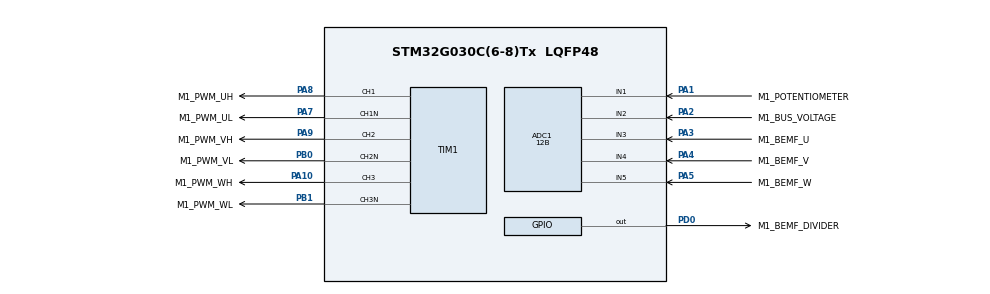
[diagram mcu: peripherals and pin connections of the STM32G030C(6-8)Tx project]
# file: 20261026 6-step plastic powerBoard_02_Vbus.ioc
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ADC1.ClockPrescaler=ADC_CLOCK_ASYNC_DIV1
ADC1.ContinuousConvMode=DISABLE
ADC1.DMAContinuousRequests=DISABLE
ADC1.DataAlign=ADC_DATAALIGN_LEFT
ADC1.DiscontinuousConvMode=DISABLE
ADC1.EOCSelection=ADC_EOC_SINGLE_CONV
ADC1.EnableAnalogWatchDog1=true
ADC1.ExternalTrigConv=ADC_EXTERNALTRIG_T1_TRGO2
ADC1.ExternalTrigConvEdge=ADC_EXTERNALTRIGCONVEDGE_FALLING
ADC1.LowPowerAutoPowerOff=DISABLE
ADC1.LowPowerAutoWait=DISABLE
ADC1.NbrOfConversion=1
ADC1.NbrOfConversionFlag=0
ADC1.Overrun=ADC_OVR_DATA_OVERWRITTEN
ADC1.OversamplingMode=DISABLE
ADC1.Resolution=ADC_RESOLUTION_12B
ADC1.SamplingTimeCommon1=ADC_SAMPLETIME_7CYCLES_5
ADC1.ScanConvMode=ADC_SCAN_SEQ_FIXED
ADC1.SelectedChannel=ADC_CHANNEL_1|ADC_CHANNEL_2|ADC_CHANNEL_3|ADC_CHANNEL_4|ADC_CHANNEL_5
ADC1.Sequencer=NOT_FULLY_CONFIGURABLE
ADC1.TriggerFrequencyMode=ADC_TRIGGER_FREQ_HIGH
ADC1.WatchdogChannel=ADC_CHANNEL_3
ADC1.WatchdogMode=ADC_ANALOGWATCHDOG_SINGLE_REG
ADC1.master=1
ExtraMW=MotorControl
ExtraMW.MotorControl.Config=MotorControl
ExtraMW.MotorControl.Mode=MotorControl
ExtraMW.MotorControl.Root=MCSDK_v6.4.2-Full/MotorControl
ExtraMW.MotorControl.Template=templates
Mcu.Family=STM32G0
Mcu.Name=STM32G030C(6-8)Tx
Mcu.Package=LQFP48
MotorControl.ADC_REFERENCE_VOLTAGE=3.3
MotorControl.BEMF_ADC_SAMPLING_TIME=7
MotorControl.BEMF_ADC_TRIG_TIME_DPP=921
MotorControl.BEMF_ADC_TRIG_TIME_ON_DPP=256
MotorControl.BEMF_AVERAGING_FIFO_DEPTH=8
MotorControl.BEMF_DIVIDER_AVAILABLE=true
MotorControl.BEMF_DIVIDER_GPIO_PIN=LL_GPIO_PIN_0
MotorControl.BEMF_DIVIDER_GPIO_PORT=GPIOD
MotorControl.BEMF_ON_SENSING_DIVIDER=5.545455
MotorControl.BEMF_PWM_ON_ENABLE_HYSTERESIS_DPP=51
MotorControl.BEMF_PWM_ON_ENABLE_THRES_DPP=716
MotorControl.BOARD=PowerBoard_6Step_02_Vbus
MotorControl.BUS_VOLTAGE_READING=true
MotorControl.CCMRAM_ENABLED=false
MotorControl.CLOCK_FREQUENCY=CPU_CLK_64_MHZ
MotorControl.CLOCK_SOURCE=INTERNAL
MotorControl.CPU_CLK_64_MHZ=true
MotorControl.CTLBOARD_NAME=PowerBoard_6Step_02_Vbus
MotorControl.CUBE_MX_VER=6.18.1
MotorControl.DBG_MCU_LOAD_MEASURE=false
MotorControl.DEBUG_DAC_FUNCTIONALITY_EN=false
MotorControl.DRIVES_NUMBER_SELECTION=SINGLEDRIVE
MotorControl.DRIVE_MODE=VM
MotorControl.DRIVE_NUMBER=1
MotorControl.DRIVE_TYPE=SIX_STEP
MotorControl.ENCODER_AVAILABLE=false
MotorControl.ENCODER_PPR=400
MotorControl.EXT_CLOCK_FREQUENCY=INT_RC_OSC
MotorControl.FAST_DEMAG=false
MotorControl.FLASH_SIZE=64
MotorControl.HALL_SENSORS_AVAILABLE=false
MotorControl.HIGH_SIDE_IDLE_STATE=false
MotorControl.HWV_POTENTIOMETER=Potentiometer
MotorControl.HWV_PWM=DrivingHighAndLowSides
MotorControl.HW_COMPLEMENTED_LOW_SIDE=false
MotorControl.HW_DEAD_TIME_NS=100
MotorControl.INT_RC_OSC=true
MotorControl.IPs=NVIC,RCC,SYS,MotorControl,TIM1,TIM3,ADC1
MotorControl.LF_TIMER_SELECTION=LF_TIM3
MotorControl.LOW_MEMORY_FOOTPRINT_REG=false
MotorControl.LOW_SIDE_IDLE_STATE=false
MotorControl.LOW_SIDE_SIGNALS_ENABLING=LS_PWM_TIMER
MotorControl.M1_ADC_AWD_FILTER_NUMBER=0
MotorControl.M1_AUXILIARY_SPEED_SENSOR=NONE
MotorControl.M1_BEMF_THRESHOLD_PWM=50
MotorControl.M1_BEMF_THRESHOLD_PWM_HIGH=100
MotorControl.M1_BEMF_THRESHOLD_PWM_LOW=1
MotorControl.M1_BOARD_MAX_CURRENT=5
MotorControl.M1_BUS_VOLTAGE_READING=true
MotorControl.M1_COMPUTATION_DELAY=-2
MotorControl.M1_CURRENT_MONITOR_READING=false
MotorControl.M1_CUR_READING=false
MotorControl.M1_DBG_OPEN_LOOP_ENABLE=false
MotorControl.M1_DC_CURRENT_RS_MEAS=5
MotorControl.M1_DEFAULT_TARGET_SPEED_RPM=2371
MotorControl.M1_DP_TOPOLOGY=NONE
MotorControl.M1_DRIVE_TYPE=SIX_STEP
MotorControl.M1_ENABLE_SL_ALGO_FROM_PHASE=3
MotorControl.M1_ENCODER_PPR=400
MotorControl.M1_HALL_PHASE_SHIFT=300
MotorControl.M1_HALL_SENSORS_PLACEMENT=DEGREES_120
MotorControl.M1_HIGH_SIDE_IDLE_STATE=false
MotorControl.M1_HW_DEAD_TIME_NS=100
MotorControl.M1_ICL_ENABLED=false
MotorControl.M1_IPD_STARTUP=false
MotorControl.M1_LDLQ_RATIO=1.000
MotorControl.M1_LOW_SIDE_IDLE_STATE=false
MotorControl.M1_LOW_SIDE_SIGNALS_ENABLING=LS_PWM_TIMER
MotorControl.M1_LS=0.000017
MotorControl.M1_MAX_APPLICATION_SPEED=15804
MotorControl.M1_MAX_CONSECUTIVE_BEMF_ERRORS=3
MotorControl.M1_MIN_APPLICATION_SPEED=0
MotorControl.M1_MOTOR_MAX_SPEED_RPM=15804
MotorControl.M1_MOTOR_NAME=03 plastik 20k rpm
MotorControl.M1_MOTOR_RATED_FLUX=0.003949979
MotorControl.M1_MOTOR_VOLTAGE_CONSTANT=0.5
MotorControl.M1_NB_CONSECUTIVE_TESTS=10
MotorControl.M1_NOMINAL_BUS_VOLTAGE_V=14
MotorControl.M1_OBS_MINIMUM_SPEED_RPM=2371
MotorControl.M1_OCP_TOPOLOGY=NONE
MotorControl.M1_ON_OVER_VOLTAGE=TURN_OFF_PWM
MotorControl.M1_OTF_6S_BEMF_THRESHOLD=10
MotorControl.M1_OTF_6S_BRAKE_MS=10
MotorControl.M1_OTF_6S_DETECTION_MS=0
MotorControl.M1_OTF_6S_LS_BRAKE_PERC=10
MotorControl.M1_OTF_6S_LS_DETECT_PERC=2
MotorControl.M1_OTF_6S_MAX_BEMF_ERROR=3
MotorControl.M1_OTF_RAMP_DURATION_MS=1000
MotorControl.M1_OTF_SPEED_DUTY_CYCLE_RATIO=3
MotorControl.M1_OTF_STARTUP=true
MotorControl.M1_OVP_THRESHOLD_HIGH=15.0
MotorControl.M1_OV_VOLTAGE_PROT_ENABLING=true
MotorControl.M1_OV_VOLTAGE_THRESHOLD_V=15.0
MotorControl.M1_PHASE1_DURATION=0
MotorControl.M1_PHASE1_FINAL_SPEED_RPM=0
MotorControl.M1_PHASE1_VOLTAGE_RMS=0.03
MotorControl.M1_PHASE2_DURATION=10
MotorControl.M1_PHASE2_FINAL_SPEED_RPM=1500
MotorControl.M1_PHASE2_VOLTAGE_RMS=3.79
MotorControl.M1_PHASE3_DURATION=20
MotorControl.M1_PHASE3_FINAL_SPEED_RPM=2371
MotorControl.M1_PHASE3_VOLTAGE_RMS=4.77
MotorControl.M1_PHASE4_DURATION=0
MotorControl.M1_PHASE4_FINAL_SPEED_RPM=0
MotorControl.M1_PHASE4_VOLTAGE_RMS=0.03
MotorControl.M1_PHASE5_DURATION=0
MotorControl.M1_PHASE5_FINAL_SPEED_RPM=0
MotorControl.M1_PHASE5_VOLTAGE_RMS=0.03
MotorControl.M1_PID_SPEED_KD_DEFAULT=0
MotorControl.M1_PID_SPEED_KI_DEFAULT=10
MotorControl.M1_PID_SPEED_KP_DEFAULT=116
MotorControl.M1_POLE_PAIR_NUM=6
MotorControl.M1_POTENTIOMETER_ENABLE=true
MotorControl.M1_POWERBOARD_NAME=PowerBoard_6Step_02_Vbus
MotorControl.M1_PWM_CHARGE_BOOT_CAP_DUTY_CYCLES=0.000
MotorControl.M1_PWM_CHARGE_BOOT_CAP_MS=10
MotorControl.M1_PWM_DRIVER_PN=02
MotorControl.M1_PWM_FREQUENCY=30000
MotorControl.M1_PWM_TIMER_BRK_IRQ=TIM1_BRK_UP_TRG_COM
MotorControl.M1_PWM_TIMER_SELECTION=PWM_TIM1
MotorControl.M1_PWM_TIMER_UP_IRQ=TIM1_BRK_UP_TRG_COM
MotorControl.M1_REGULATION_EXECUTION_RATE=1
MotorControl.M1_RS=0.1
MotorControl.M1_SHARED_SIGNAL_ENABLE=false
MotorControl.M1_SPD_DIFFERENTIAL_TERM_ENABLING=false
MotorControl.M1_SPEED_LOOP_FREQUENCY_HZ=1000
MotorControl.M1_SPEED_SENSOR=SENSORLESS_ADC
MotorControl.M1_SP_KDDIV=16
MotorControl.M1_SP_KIDIV=16384
MotorControl.M1_SP_KPDIV=16384
MotorControl.M1_SS_MEAS_ERRORS_BEFORE_FAULTS=3
MotorControl.M1_STARTING_ANGLE_DEG=0
MotorControl.M1_SW_DEADTIME_NS=100
MotorControl.M1_TEMPERATURE_READING=false
MotorControl.M1_TRANSITION_DURATION=25
MotorControl.M1_UD_VOLTAGE_THRESHOLD_V=6.0
MotorControl.M1_UV_VOLTAGE_PROT_ENABLING=true
MotorControl.M1_VBUS_ADC=ADC1
MotorControl.M1_VBUS_ADC_SAMPLING_TIME=39
MotorControl.M1_VBUS_CHANNEL=ADC_CHANNEL_2
MotorControl.M1_VBUS_PARTITIONING_FACTOR=0.18348623853211007
MotorControl.M1_ZCD_FALLING_TO_COMM=30
MotorControl.M1_ZCD_RISING_TO_COMM=30
MotorControl.MCP_EN=false
MotorControl.MCU=STM32G030C8
MotorControl.MCU_FAMILY=STM32G0
MotorControl.MCU_LINE=STM32G0x0 Value line
MotorControl.MCU_NAME=STM32G030C(6-8)Tx
MotorControl.MCU_PACKAGE=LQFP48
MotorControl.MCU_TYPE=STM32G030C8
MotorControl.MCU_USERNAME=STM32G030C8Tx
MotorControl.MC_WORKBENCH_VERSION=6.4.2
MotorControl.MIN_DEMAG_TIME=1
MotorControl.MOTOR_TYPE=PMSM
MotorControl.ON_OVER_VOLTAGE=TURN_OFF_PWM
MotorControl.OV_VOLTAGE_PROT_ENABLING=true
MotorControl.PHASE_UH_GPIO_PIN=LL_GPIO_PIN_8
MotorControl.PHASE_UH_GPIO_PORT=GPIOA
MotorControl.PHASE_UH_POLARITY=H_ACTIVE_HIGH
MotorControl.PHASE_UL_GPIO_PIN=LL_GPIO_PIN_7
MotorControl.PHASE_UL_GPIO_PORT=GPIOA
MotorControl.PHASE_UL_POLARITY=L_ACTIVE_HIGH
MotorControl.PHASE_U_BEMF_ADC=ADC1
MotorControl.PHASE_U_BEMF_CHANNEL=ADC_CHANNEL_3
MotorControl.PHASE_U_BEMF_GPIO_PIN=LL_GPIO_PIN_3
MotorControl.PHASE_U_BEMF_GPIO_PORT=GPIOA
MotorControl.PHASE_U_PWM_CHANNEL=TIM_Channel_1
MotorControl.PHASE_VH_GPIO_PIN=LL_GPIO_PIN_9
MotorControl.PHASE_VH_GPIO_PORT=GPIOA
MotorControl.PHASE_VH_POLARITY=H_ACTIVE_HIGH
MotorControl.PHASE_VL_GPIO_PIN=LL_GPIO_PIN_0
MotorControl.PHASE_VL_GPIO_PORT=GPIOB
MotorControl.PHASE_VL_POLARITY=L_ACTIVE_HIGH
MotorControl.PHASE_V_BEMF_ADC=ADC1
MotorControl.PHASE_V_BEMF_CHANNEL=ADC_CHANNEL_4
MotorControl.PHASE_V_BEMF_GPIO_PIN=LL_GPIO_PIN_4
MotorControl.PHASE_V_BEMF_GPIO_PORT=GPIOA
MotorControl.PHASE_V_PWM_CHANNEL=TIM_Channel_2
MotorControl.PHASE_WH_GPIO_PIN=LL_GPIO_PIN_10
MotorControl.PHASE_WH_GPIO_PORT=GPIOA
MotorControl.PHASE_WH_POLARITY=H_ACTIVE_HIGH
MotorControl.PHASE_WL_GPIO_PIN=LL_GPIO_PIN_1
MotorControl.PHASE_WL_GPIO_PORT=GPIOB
MotorControl.PHASE_WL_POLARITY=L_ACTIVE_HIGH
MotorControl.PHASE_W_BEMF_ADC=ADC1
MotorControl.PHASE_W_BEMF_CHANNEL=ADC_CHANNEL_5
MotorControl.PHASE_W_BEMF_GPIO_PIN=LL_GPIO_PIN_5
MotorControl.PHASE_W_BEMF_GPIO_PORT=GPIOA
MotorControl.PHASE_W_PWM_CHANNEL=TIM_Channel_3
MotorControl.POTENTIOMETER_ADC=ADC1
MotorControl.POTENTIOMETER_ADC_SAMPLING_TIME=39
MotorControl.POTENTIOMETER_CHANNEL=ADC_CHANNEL_1
MotorControl.POTENTIOMETER_GPIO_PIN=LL_GPIO_PIN_1
MotorControl.POTENTIOMETER_GPIO_PORT=GPIOA
MotorControl.POTENTIOMETER_READING=true
MotorControl.PWM_FREQUENCY=30000
MotorControl.PWM_TIMER_SELECTION=PWM_TIM1
MotorControl.QUASI_SYNC=false
MotorControl.REGULATION_EXECUTION_RATE=1
MotorControl.RUN_DEMAG_TIME=20
MotorControl.R_BRAKE_SWITCH_OFF_THRES_V=12
MotorControl.SENSORLESS_ADC=true
MotorControl.SINGLEDRIVE=true
MotorControl.SPD_DIFFERENTIAL_TERM_ENABLING=false
MotorControl.SPEED_SENSOR_SELECTION=SENSORLESS_ADC
MotorControl.SPEED_THRESHOLD_DEMAG=7902
MotorControl.STARTUP_DEMAG_TIME=20
MotorControl.START_STOP_BTN=false
MotorControl.STM32G030C8=true
MotorControl.SW_DEADTIME_NS=100
MotorControl.TEMPERATURE_READING=false
MotorControl.TFDIFFERENTIAL_TERM_ENABLING=false
MotorControl.UV_VOLTAGE_PROT_ENABLING=true
MotorControl.VBUS_ADC=ADC1
MotorControl.VBUS_ADC_SAMPLING_TIME=39
MotorControl.VBUS_CHANNEL=ADC_CHANNEL_2
MotorControl.VBUS_GPIO_PIN=LL_GPIO_PIN_2
MotorControl.VBUS_GPIO_PORT=GPIOA
MotorControl.WB_MX_ADC_AWD_FILTER_NUMBER=NONE
MotorControl.WB_MX_HEAPSIZE=0x200
MotorControl.WB_MX_PHASE_U_BEMF_ADC_IRQ=ADC1
MotorControl.WB_MX_PHASE_V_BEMF_ADC_IRQ=ADC1
MotorControl.WB_MX_PHASE_W_BEMF_ADC_IRQ=ADC1
MotorControl.WB_MX_STACKSIZE=0x400
MotorControl.WB_MX_TRUSTZONE_AVAILABLE=false
MotorControl.WB_UI_ENCODER_HAS_INDEX_PIN=false
MotorControl.WB_UI_FRICTION=0.104
MotorControl.WB_UI_INERTIA=0.001
MotorControl.WB_UI_MAGNETIC_STRUCTURE=SM-PMSM
MotorControl.WB_UI_MAX_CURRENT=5
MotorControl.WB_UI_MAX_NOMINAL_DC_VOLTAGE=14
MotorControl.WB_UI_MAX_PWMFREQUENCY=100000
MotorControl.WB_UI_MOTOR_DESCRIPTION=20000 rpm 5A 8V
MotorControl.WB_UI_PWM_ON_SENSING=true
MotorControl.WB_UI_PW_BOARD_MAX_RATED_CURRENT=10
MotorControl.WB_UI_PW_BOARD_MAX_VOLTAGE=16
MotorControl.WB_UI_PW_BOARD_MIN_VOLTAGE=6
MotorControl.WB_to_Mx_template_version=25-05-06
MotorControl.WB_to_Mx_version=6.4.2
NVIC.ADC1_IRQn=true\:0\:0\:true\:true\:false\:3\:true\:true\:true
NVIC.TIM1_BRK_UP_TRG_COM_IRQn=true\:0\:0\:false\:true\:false\:2\:true\:true\:true
NVIC.TIM3_IRQn=true\:0\:0\:true\:true\:false\:1\:true\:true\:true
PA1.GPIO_Label=M1_POTENTIOMETER
PA1.Mode=IN1
PA1.Signal=ADC1_IN1
PA10.GPIO_Label=M1_PWM_WH
PA10.GPIO_PuPd=GPIO_PULLDOWN
PA10.GPIO_Speed=GPIO_SPEED_FREQ_HIGH
PA10.Signal=S_TIM1_CH3
PA2.GPIO_Label=M1_BUS_VOLTAGE
PA2.Mode=IN2
PA2.Signal=ADC1_IN2
PA3.GPIO_Label=M1_BEMF_U
PA3.Mode=IN3
PA3.Signal=ADC1_IN3
PA4.GPIO_Label=M1_BEMF_V
PA4.Mode=IN4
PA4.Signal=ADC1_IN4
PA5.GPIO_Label=M1_BEMF_W
PA5.Mode=IN5
PA5.Signal=ADC1_IN5
PA7.GPIO_Label=M1_PWM_UL
PA7.GPIO_PuPd=GPIO_PULLDOWN
PA7.GPIO_Speed=GPIO_SPEED_FREQ_HIGH
PA7.Mode=PWM Generation1 CH1 CH1N
PA7.Signal=TIM1_CH1N
PA8.GPIO_Label=M1_PWM_UH
PA8.GPIO_PuPd=GPIO_PULLDOWN
PA8.GPIO_Speed=GPIO_SPEED_FREQ_HIGH
PA8.Signal=S_TIM1_CH1
PA9.GPIO_Label=M1_PWM_VH
PA9.GPIO_PuPd=GPIO_PULLDOWN
PA9.GPIO_Speed=GPIO_SPEED_FREQ_HIGH
PA9.Signal=S_TIM1_CH2
PB0.GPIO_Label=M1_PWM_VL
PB0.GPIO_PuPd=GPIO_PULLDOWN
PB0.GPIO_Speed=GPIO_SPEED_FREQ_HIGH
PB0.Mode=PWM Generation2 CH2 CH2N
PB0.Signal=TIM1_CH2N
PB1.GPIO_Label=M1_PWM_WL
PB1.GPIO_PuPd=GPIO_PULLDOWN
PB1.GPIO_Speed=GPIO_SPEED_FREQ_HIGH
PB1.Mode=PWM Generation3 CH3 CH3N
PB1.Signal=TIM1_CH3N
PD0.GPIO_Label=M1_BEMF_DIVIDER
PD0.GPIO_PuPd=GPIO_PULLDOWN
PD0.PinState=GPIO_PIN_RESET
PD0.Signal=GPIO_Output
ProjectManager.HeapSize=0x200
ProjectManager.StackSize=0x400
ProjectManager.TargetToolchain=STM32CubeIDE
RCC.ADCCLockSelection=RCC_ADCCLKSOURCE_PLLADC
RCC.ADCFreq_Value=32000000
RCC.AHBFreq_Value=64000000
RCC.CortexFreq_Value=64000000
RCC.EXTERNAL_CLOCK_VALUE=12288000
RCC.HCLKFreq_Value=64000000
RCC.HSE_VALUE=8000000
RCC.HSI_VALUE=16000000
RCC.LSE_VALUE=32768
RCC.PLLM=RCC_PLLM_DIV2
RCC.PLLN=32
RCC.PLLP=RCC_PLLP_DIV8
RCC.PLLQ=RCC_PLLQ_DIV2
RCC.PLLR=RCC_PLLR_DIV4
RCC.PLLSourceVirtual=RCC_PLLSOURCE_HSI
RCC.PREFETCH_ENABLE=1
RCC.SYSCLKFreq_VALUE=64000000
RCC.SYSCLKSource=RCC_SYSCLKSOURCE_PLLCLK
RCC.VCOOutputFreq_Value=256000000
SH.S_TIM1_CH1.0=TIM1_CH1,PWM Generation1 CH1 CH1N
SH.S_TIM1_CH2.0=TIM1_CH2,PWM Generation2 CH2 CH2N
SH.S_TIM1_CH3.0=TIM1_CH3,PWM Generation3 CH3 CH3N
TIM1.AutoReloadPreload=TIM_AUTORELOAD_PRELOAD_DISABLE
TIM1.AutomaticOutput=TIM_AUTOMATICOUTPUT_DISABLE
TIM1.Break2Filter=3
TIM1.Break2Polarity=TIM_BREAK2POLARITY_HIGH
TIM1.Break2State=TIM_BREAK2_DISABLE
TIM1.BreakFilter=0
TIM1.BreakPolarity=TIM_BREAKPOLARITY_HIGH
TIM1.BreakState=TIM_BREAK_DISABLE
TIM1.Channel=TIM_CHANNEL_4
TIM1.Channel-PWM\ Generation1\ CH1\ CH1N=TIM_CHANNEL_1
TIM1.Channel-PWM\ Generation2\ CH2\ CH2N=TIM_CHANNEL_2
TIM1.Channel-PWM\ Generation3\ CH3\ CH3N=TIM_CHANNEL_3
TIM1.Channel-PWM\ Generation4\ No\ Output=TIM_CHANNEL_4
TIM1.ClearInputSource=TIM_CLEARINPUTSOURCE_NONE
TIM1.ClockDivision=TIM_CLOCKDIVISION_DIV1
TIM1.CounterMode=TIM_COUNTERMODE_UP
TIM1.DeadTime=((DEAD_TIME_COUNTS) / 2)
TIM1.LockLevel=TIM_LOCKLEVEL_OFF
TIM1.OC1Preload_PWM=ENABLE
TIM1.OC2Preload_PWM=ENABLE
TIM1.OC3Preload_PWM=ENABLE
TIM1.OC4Preload_PWM=ENABLE
TIM1.OCFastMode_PWM=TIM_OCFAST_DISABLE
TIM1.OCIdleState_1=TIM_OCIDLESTATE_RESET
TIM1.OCIdleState_2=TIM_OCIDLESTATE_RESET
TIM1.OCIdleState_3=TIM_OCIDLESTATE_RESET
TIM1.OCIdleState_4=TIM_OCIDLESTATE_RESET
TIM1.OCMode_PWM-PWM\ Generation1\ CH1\ CH1N=TIM_OCMODE_PWM1
TIM1.OCMode_PWM-PWM\ Generation2\ CH2\ CH2N=TIM_OCMODE_PWM1
TIM1.OCMode_PWM-PWM\ Generation3\ CH3\ CH3N=TIM_OCMODE_PWM1
TIM1.OCMode_PWM-PWM\ Generation4\ No\ Output=TIM_OCMODE_PWM1
TIM1.OCNIdleState_1=TIM_OCNIDLESTATE_RESET
TIM1.OCNIdleState_2=TIM_OCNIDLESTATE_RESET
TIM1.OCNIdleState_3=TIM_OCNIDLESTATE_RESET
TIM1.OCNPolarity_1=TIM_OCNPOLARITY_HIGH
TIM1.OCNPolarity_2=TIM_OCNPOLARITY_HIGH
TIM1.OCNPolarity_3=TIM_OCNPOLARITY_HIGH
TIM1.OCPolarity_1=TIM_OCPOLARITY_HIGH
TIM1.OCPolarity_2=TIM_OCPOLARITY_HIGH
TIM1.OCPolarity_3=TIM_OCPOLARITY_HIGH
TIM1.OCPolarity_4=TIM_OCPOLARITY_HIGH
TIM1.OffStateIDLEMode=TIM_OSSI_ENABLE
TIM1.OffStateRunMode=TIM_OSSR_ENABLE
TIM1.Period=(PWM_PERIOD_CYCLES)
TIM1.Prescaler=((TIM_CLOCK_DIVIDER) - 1)
TIM1.RepetitionCounter=(REP_COUNTER)
TIM1.SourceBRK2DigInput=TIM_BREAKINPUTSOURCE_DISABLE
TIM1.SourceBRKDigInput=TIM_BREAKINPUTSOURCE_DISABLE
TIM1.TIM_MasterOutputTrigger=TIM_TRGO_RESET
TIM1.TIM_MasterOutputTrigger2=TIM_TRGO2_OC4REF
TIM1.TIM_MasterSlaveMode=TIM_MASTERSLAVEMODE_ENABLE
TIM3.Period=LF_TIMER_ARR
TIM3.Prescaler=LF_TIMER_PSC
TIM3.TIM_MasterOutputTrigger=TIM_TRGO_ENABLE
TIM3.TIM_MasterSlaveMode=TIM_MASTERSLAVEMODE_ENABLE
VP_MotorControl_MC_ENABLED.Mode=SixStep
VP_TIM1_VS_ClockSourceINT.Mode=Internal
VP_TIM1_VS_no_output4.Mode=PWM Generation4 No Output
VP_TIM3_VS_ClockSourceINT.Mode=Internal
board=custom

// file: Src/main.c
/* USER CODE BEGIN Header */
/**
  ******************************************************************************
  * @file           : main.c
  * @brief          : Main program body
  ******************************************************************************
  * @attention
  *
  * Copyright (c) 2026 STMicroelectronics.
  * All rights reserved.
  *
  * This software is licensed under terms that can be found in the LICENSE file
  * in the root directory of this software component.
  * If no LICENSE file comes with this software, it is provided AS-IS.
  *
  ******************************************************************************
  */
/* USER CODE END Header */
#include "main.h"

/* USER CODE BEGIN Includes */

#include "led_module.h"
#include "workspace.h"
#include "button.h"

/* USER CODE END Includes */

/* USER CODE BEGIN PV */

u32 SystemCounter;

/* USER CODE END PV */

void SystemClock_Config(void);
static void MX_GPIO_Init(void);
static void MX_ADC1_Init(void);
static void MX_TIM1_Init(void);
static void MX_TIM3_Init(void);
static void MX_NVIC_Init(void);

/* USER CODE BEGIN 0 */

static void delayUs(unsigned int time);

/* USER CODE END 0 */

int main(void)
{

  /* MCU Configuration--------------------------------------------------------*/

  /* Reset of all peripherals, Initializes the Flash interface and the Systick. */
  HAL_Init();

  /* Configure the system clock */
  SystemClock_Config();

  /* Initialize all configured peripherals */
  MX_GPIO_Init();
  MX_ADC1_Init();
  MX_TIM1_Init();
  MX_TIM3_Init();
  MX_MotorControl_Init();

  /* Initialize interrupts */
  MX_NVIC_Init();
  /* USER CODE BEGIN 2 */

  LED_Init();
  BUTTON_Init();
  WKSPC_Init();

  //  GPIOB->BSRR = LL_GPIO_PIN_11;	// Set
  //  GPIOB->BRR = LL_GPIO_PIN_11;	// Reset

    LED_On(LED2);
    delayUs(100);
    LED_Off(LED2);

    LED_On(LED3);
    delayUs(100);
    LED_Off(LED3);

  /* USER CODE END 2 */

  /* Infinite loop */
  while (1)
  {

    /* USER CODE BEGIN 3 */
	  WKSPC_Processing();
	  BUTTON_Process();
  }
  /* USER CODE END 3 */
}

void SystemClock_Config(void)
{
  LL_FLASH_SetLatency(LL_FLASH_LATENCY_2);
  while(LL_FLASH_GetLatency() != LL_FLASH_LATENCY_2)
  {
  }

  /* HSI configuration and activation */
  LL_RCC_HSI_Enable();
  while(LL_RCC_HSI_IsReady() != 1)
  {
  }

  /* Main PLL configuration and activation */
  LL_RCC_PLL_ConfigDomain_ADC(LL_RCC_PLLSOURCE_HSI, LL_RCC_PLLM_DIV_2, 32, LL_RCC_PLLP_DIV_8);
  LL_RCC_PLL_EnableDomain_ADC();
  LL_RCC_PLL_ConfigDomain_SYS(LL_RCC_PLLSOURCE_HSI, LL_RCC_PLLM_DIV_2, 32, LL_RCC_PLLR_DIV_4);
  LL_RCC_PLL_Enable();
  LL_RCC_PLL_EnableDomain_SYS();
  while(LL_RCC_PLL_IsReady() != 1)
  {
  }

  /* Set AHB prescaler*/
  LL_RCC_SetAHBPrescaler(LL_RCC_SYSCLK_DIV_1);

  /* Sysclk activation on the main PLL */
  LL_RCC_SetSysClkSource(LL_RCC_SYS_CLKSOURCE_PLL);
  while(LL_RCC_GetSysClkSource() != LL_RCC_SYS_CLKSOURCE_STATUS_PLL)
  {
  }

  /* Set APB1 prescaler*/
  LL_RCC_SetAPB1Prescaler(LL_RCC_APB1_DIV_1);
  /* Update CMSIS variable (which can be updated also through SystemCoreClockUpdate function) */
  LL_SetSystemCoreClock(64000000);

   /* Update the time base */
  if (HAL_InitTick (TICK_INT_PRIORITY) != HAL_OK)
  {
    Error_Handler();
  }
}

/**
  * @brief NVIC Configuration.
  * @retval None
  */
static void MX_NVIC_Init(void)
{
  /* TIM3_IRQn interrupt configuration */
  NVIC_SetPriority(TIM3_IRQn, 0);
  NVIC_EnableIRQ(TIM3_IRQn);
  /* TIM1_BRK_UP_TRG_COM_IRQn interrupt configuration */
  NVIC_SetPriority(TIM1_BRK_UP_TRG_COM_IRQn, 0);
  NVIC_EnableIRQ(TIM1_BRK_UP_TRG_COM_IRQn);
  /* ADC1_IRQn interrupt configuration */
  NVIC_SetPriority(ADC1_IRQn, 0);
  NVIC_EnableIRQ(ADC1_IRQn);
}

static void MX_ADC1_Init(void)
{

  LL_ADC_InitTypeDef ADC_InitStruct = {0};
  LL_ADC_REG_InitTypeDef ADC_REG_InitStruct = {0};

  LL_GPIO_InitTypeDef GPIO_InitStruct = {0};

  LL_RCC_SetADCClockSource(LL_RCC_ADC_CLKSOURCE_PLL);

  /* Peripheral clock enable */
  LL_APB2_GRP1_EnableClock(LL_APB2_GRP1_PERIPH_ADC);

  LL_IOP_GRP1_EnableClock(LL_IOP_GRP1_PERIPH_GPIOA);
  /**ADC1 GPIO Configuration
  PA1   ------> ADC1_IN1
  PA2   ------> ADC1_IN2
  PA3   ------> ADC1_IN3
  PA4   ------> ADC1_IN4
  PA5   ------> ADC1_IN5
  */
  GPIO_InitStruct.Pin = M1_POTENTIOMETER_Pin;
  GPIO_InitStruct.Mode = LL_GPIO_MODE_ANALOG;
  GPIO_InitStruct.Pull = LL_GPIO_PULL_NO;
  LL_GPIO_Init(M1_POTENTIOMETER_GPIO_Port, &GPIO_InitStruct);

  GPIO_InitStruct.Pin = M1_BUS_VOLTAGE_Pin;
  GPIO_InitStruct.Mode = LL_GPIO_MODE_ANALOG;
  GPIO_InitStruct.Pull = LL_GPIO_PULL_NO;
  LL_GPIO_Init(M1_BUS_VOLTAGE_GPIO_Port, &GPIO_InitStruct);

  GPIO_InitStruct.Pin = M1_BEMF_U_Pin;
  GPIO_InitStruct.Mode = LL_GPIO_MODE_ANALOG;
  GPIO_InitStruct.Pull = LL_GPIO_PULL_NO;
  LL_GPIO_Init(M1_BEMF_U_GPIO_Port, &GPIO_InitStruct);

  GPIO_InitStruct.Pin = M1_BEMF_V_Pin;
  GPIO_InitStruct.Mode = LL_GPIO_MODE_ANALOG;
  GPIO_InitStruct.Pull = LL_GPIO_PULL_NO;
  LL_GPIO_Init(M1_BEMF_V_GPIO_Port, &GPIO_InitStruct);

  GPIO_InitStruct.Pin = M1_BEMF_W_Pin;
  GPIO_InitStruct.Mode = LL_GPIO_MODE_ANALOG;
  GPIO_InitStruct.Pull = LL_GPIO_PULL_NO;
  LL_GPIO_Init(M1_BEMF_W_GPIO_Port, &GPIO_InitStruct);

  /** Configure the global features of the ADC (Clock, Resolution, Data Alignment and number of conversion)
  */

   #define ADC_CHANNEL_CONF_RDY_TIMEOUT_MS ( 1U)
   #if (USE_TIMEOUT == 1)
   uint32_t Timeout ; /* Variable used for Timeout management */
   #endif /* USE_TIMEOUT */

  ADC_InitStruct.Resolution = LL_ADC_RESOLUTION_12B;
  ADC_InitStruct.DataAlignment = LL_ADC_DATA_ALIGN_LEFT;
  ADC_InitStruct.LowPowerMode = LL_ADC_LP_MODE_NONE;
  LL_ADC_Init(ADC1, &ADC_InitStruct);
  LL_ADC_REG_SetSequencerConfigurable(ADC1, LL_ADC_REG_SEQ_FIXED);
  ADC_REG_InitStruct.TriggerSource = LL_ADC_REG_TRIG_EXT_TIM1_TRGO2;
  ADC_REG_InitStruct.SequencerLength = LL_ADC_REG_SEQ_SCAN_DISABLE;
  ADC_REG_InitStruct.SequencerDiscont = LL_ADC_REG_SEQ_DISCONT_DISABLE;
  ADC_REG_InitStruct.ContinuousMode = LL_ADC_REG_CONV_SINGLE;
  ADC_REG_InitStruct.DMATransfer = LL_ADC_REG_DMA_TRANSFER_NONE;
  ADC_REG_InitStruct.Overrun = LL_ADC_REG_OVR_DATA_OVERWRITTEN;
  LL_ADC_REG_Init(ADC1, &ADC_REG_InitStruct);
  LL_ADC_SetCommonClock(__LL_ADC_COMMON_INSTANCE(ADC1), LL_ADC_CLOCK_ASYNC_DIV1);
  LL_ADC_REG_SetSequencerScanDirection(ADC1, LL_ADC_REG_SEQ_SCAN_DIR_FORWARD);
  LL_ADC_SetOverSamplingScope(ADC1, LL_ADC_OVS_DISABLE);
  LL_ADC_SetTriggerFrequencyMode(ADC1, LL_ADC_CLOCK_FREQ_MODE_HIGH);
  LL_ADC_REG_SetSequencerChAdd(ADC1, LL_ADC_CHANNEL_1|LL_ADC_CHANNEL_2
                              |LL_ADC_CHANNEL_3|LL_ADC_CHANNEL_4
                              |LL_ADC_CHANNEL_5);

   /* Poll for ADC channel configuration ready */
   #if (USE_TIMEOUT == 1)
   Timeout = ADC_CHANNEL_CONF_RDY_TIMEOUT_MS;
   #endif /* USE_TIMEOUT */
   while (LL_ADC_IsActiveFlag_CCRDY(ADC1) == 0)
     {
   #if (USE_TIMEOUT == 1)
   /* Check Systick counter flag to decrement the time-out value */
   if (LL_SYSTICK_IsActiveCounterFlag())
     {
   if(Timeout-- == 0)
         {
   Error_Handler();
         }
     }
   #endif /* USE_TIMEOUT */
     }
   /* Clear flag ADC channel configuration ready */
   LL_ADC_ClearFlag_CCRDY(ADC1);
  LL_ADC_REG_SetTriggerEdge(ADC1, LL_ADC_REG_TRIG_EXT_FALLING);
  LL_ADC_SetSamplingTimeCommonChannels(ADC1, LL_ADC_SAMPLINGTIME_COMMON_1, LL_ADC_SAMPLINGTIME_7CYCLES_5);
  LL_ADC_DisableIT_EOC(ADC1);
  LL_ADC_DisableIT_EOS(ADC1);

   /* Enable ADC internal voltage regulator */
   LL_ADC_EnableInternalRegulator(ADC1);
   /* Delay for ADC internal voltage regulator stabilization. */
   /* Compute number of CPU cycles to wait for, from delay in us. */
   /* Note: Variable divided by 2 to compensate partially */
   /* CPU processing cycles (depends on compilation optimization). */
   /* Note: If system core clock frequency is below 200kHz, wait time */
   /* is only a few CPU processing cycles. */
   __IO uint32_t wait_loop_index;
   wait_loop_index = ((LL_ADC_DELAY_INTERNAL_REGUL_STAB_US * (SystemCoreClock / (100000 * 2))) / 10);
   while(wait_loop_index != 0)
     {
   wait_loop_index--;
     }

  /** Configure Analog WatchDog 1
  */
  LL_ADC_SetAnalogWDMonitChannels(ADC1, LL_ADC_AWD1, LL_ADC_AWD_CHANNEL_1_REG);
  LL_ADC_ConfigAnalogWDThresholds(ADC1, LL_ADC_AWD1, 0, 0);
  LL_ADC_DisableIT_AWD1(ADC1);

}

static void MX_TIM1_Init(void)
{

  LL_TIM_InitTypeDef TIM_InitStruct = {0};
  LL_TIM_OC_InitTypeDef TIM_OC_InitStruct = {0};
  LL_TIM_BDTR_InitTypeDef TIM_BDTRInitStruct = {0};

  LL_GPIO_InitTypeDef GPIO_InitStruct = {0};

  /* Peripheral clock enable */
  LL_APB2_GRP1_EnableClock(LL_APB2_GRP1_PERIPH_TIM1);

  TIM_InitStruct.Prescaler = ((TIM_CLOCK_DIVIDER) - 1);
  TIM_InitStruct.CounterMode = LL_TIM_COUNTERMODE_UP;
  TIM_InitStruct.Autoreload = (PWM_PERIOD_CYCLES);
  TIM_InitStruct.ClockDivision = LL_TIM_CLOCKDIVISION_DIV1;
  TIM_InitStruct.RepetitionCounter = (REP_COUNTER);
  LL_TIM_Init(TIM1, &TIM_InitStruct);
  LL_TIM_DisableARRPreload(TIM1);
  LL_TIM_SetClockSource(TIM1, LL_TIM_CLOCKSOURCE_INTERNAL);
  LL_TIM_OC_EnablePreload(TIM1, LL_TIM_CHANNEL_CH1);
  TIM_OC_InitStruct.OCMode = LL_TIM_OCMODE_PWM1;
  TIM_OC_InitStruct.OCState = LL_TIM_OCSTATE_DISABLE;
  TIM_OC_InitStruct.OCNState = LL_TIM_OCSTATE_DISABLE;
  TIM_OC_InitStruct.CompareValue = 0;
  TIM_OC_InitStruct.OCPolarity = LL_TIM_OCPOLARITY_HIGH;
  TIM_OC_InitStruct.OCNPolarity = LL_TIM_OCPOLARITY_HIGH;
  TIM_OC_InitStruct.OCIdleState = LL_TIM_OCIDLESTATE_LOW;
  TIM_OC_InitStruct.OCNIdleState = LL_TIM_OCIDLESTATE_LOW;
  LL_TIM_OC_Init(TIM1, LL_TIM_CHANNEL_CH1, &TIM_OC_InitStruct);
  LL_TIM_OC_DisableFast(TIM1, LL_TIM_CHANNEL_CH1);
  LL_TIM_OC_EnablePreload(TIM1, LL_TIM_CHANNEL_CH2);
  LL_TIM_OC_Init(TIM1, LL_TIM_CHANNEL_CH2, &TIM_OC_InitStruct);
  LL_TIM_OC_DisableFast(TIM1, LL_TIM_CHANNEL_CH2);
  LL_TIM_OC_EnablePreload(TIM1, LL_TIM_CHANNEL_CH3);
  LL_TIM_OC_Init(TIM1, LL_TIM_CHANNEL_CH3, &TIM_OC_InitStruct);
  LL_TIM_OC_DisableFast(TIM1, LL_TIM_CHANNEL_CH3);
  LL_TIM_OC_EnablePreload(TIM1, LL_TIM_CHANNEL_CH4);
  LL_TIM_OC_Init(TIM1, LL_TIM_CHANNEL_CH4, &TIM_OC_InitStruct);
  LL_TIM_OC_DisableFast(TIM1, LL_TIM_CHANNEL_CH4);
  LL_TIM_SetTriggerOutput(TIM1, LL_TIM_TRGO_RESET);
  LL_TIM_SetTriggerOutput2(TIM1, LL_TIM_TRGO2_OC4);
  LL_TIM_EnableMasterSlaveMode(TIM1);
  TIM_BDTRInitStruct.OSSRState = LL_TIM_OSSR_ENABLE;
  TIM_BDTRInitStruct.OSSIState = LL_TIM_OSSI_ENABLE;
  TIM_BDTRInitStruct.LockLevel = LL_TIM_LOCKLEVEL_OFF;
  TIM_BDTRInitStruct.DeadTime = ((DEAD_TIME_COUNTS) / 2);
  TIM_BDTRInitStruct.BreakState = LL_TIM_BREAK_DISABLE;
  TIM_BDTRInitStruct.BreakPolarity = LL_TIM_BREAK_POLARITY_HIGH;
  TIM_BDTRInitStruct.BreakFilter = LL_TIM_BREAK_FILTER_FDIV1;
  TIM_BDTRInitStruct.BreakAFMode = LL_TIM_BREAK_AFMODE_INPUT;
  TIM_BDTRInitStruct.Break2State = LL_TIM_BREAK2_DISABLE;
  TIM_BDTRInitStruct.Break2Polarity = LL_TIM_BREAK2_POLARITY_HIGH;
  TIM_BDTRInitStruct.Break2Filter = LL_TIM_BREAK2_FILTER_FDIV1_N8;
  TIM_BDTRInitStruct.Break2AFMode = LL_TIM_BREAK_AFMODE_INPUT;
  TIM_BDTRInitStruct.AutomaticOutput = LL_TIM_AUTOMATICOUTPUT_DISABLE;
  LL_TIM_BDTR_Init(TIM1, &TIM_BDTRInitStruct);
  LL_IOP_GRP1_EnableClock(LL_IOP_GRP1_PERIPH_GPIOA);
  LL_IOP_GRP1_EnableClock(LL_IOP_GRP1_PERIPH_GPIOB);
  /**TIM1 GPIO Configuration
  PA7   ------> TIM1_CH1N
  PB0   ------> TIM1_CH2N
  PB1   ------> TIM1_CH3N
  PA8   ------> TIM1_CH1
  PA9   ------> TIM1_CH2
  PA10   ------> TIM1_CH3
  */
  GPIO_InitStruct.Pin = M1_PWM_UL_Pin;
  GPIO_InitStruct.Mode = LL_GPIO_MODE_ALTERNATE;
  GPIO_InitStruct.Speed = LL_GPIO_SPEED_FREQ_HIGH;
  GPIO_InitStruct.OutputType = LL_GPIO_OUTPUT_PUSHPULL;
  GPIO_InitStruct.Pull = LL_GPIO_PULL_DOWN;
  GPIO_InitStruct.Alternate = LL_GPIO_AF_2;
  LL_GPIO_Init(M1_PWM_UL_GPIO_Port, &GPIO_InitStruct);

  GPIO_InitStruct.Pin = M1_PWM_VL_Pin;
  GPIO_InitStruct.Mode = LL_GPIO_MODE_ALTERNATE;
  GPIO_InitStruct.Speed = LL_GPIO_SPEED_FREQ_HIGH;
  GPIO_InitStruct.OutputType = LL_GPIO_OUTPUT_PUSHPULL;
  GPIO_InitStruct.Pull = LL_GPIO_PULL_DOWN;
  GPIO_InitStruct.Alternate = LL_GPIO_AF_2;
  LL_GPIO_Init(M1_PWM_VL_GPIO_Port, &GPIO_InitStruct);

  GPIO_InitStruct.Pin = M1_PWM_WL_Pin;
  GPIO_InitStruct.Mode = LL_GPIO_MODE_ALTERNATE;
  GPIO_InitStruct.Speed = LL_GPIO_SPEED_FREQ_HIGH;
  GPIO_InitStruct.OutputType = LL_GPIO_OUTPUT_PUSHPULL;
  GPIO_InitStruct.Pull = LL_GPIO_PULL_DOWN;
  GPIO_InitStruct.Alternate = LL_GPIO_AF_2;
  LL_GPIO_Init(M1_PWM_WL_GPIO_Port, &GPIO_InitStruct);

  GPIO_InitStruct.Pin = M1_PWM_UH_Pin;
  GPIO_InitStruct.Mode = LL_GPIO_MODE_ALTERNATE;
  GPIO_InitStruct.Speed = LL_GPIO_SPEED_FREQ_HIGH;
  GPIO_InitStruct.OutputType = LL_GPIO_OUTPUT_PUSHPULL;
  GPIO_InitStruct.Pull = LL_GPIO_PULL_DOWN;
  GPIO_InitStruct.Alternate = LL_GPIO_AF_2;
  LL_GPIO_Init(M1_PWM_UH_GPIO_Port, &GPIO_InitStruct);

  GPIO_InitStruct.Pin = M1_PWM_VH_Pin;
  GPIO_InitStruct.Mode = LL_GPIO_MODE_ALTERNATE;
  GPIO_InitStruct.Speed = LL_GPIO_SPEED_FREQ_HIGH;
  GPIO_InitStruct.OutputType = LL_GPIO_OUTPUT_PUSHPULL;
  GPIO_InitStruct.Pull = LL_GPIO_PULL_DOWN;
  GPIO_InitStruct.Alternate = LL_GPIO_AF_2;
  LL_GPIO_Init(M1_PWM_VH_GPIO_Port, &GPIO_InitStruct);

  GPIO_InitStruct.Pin = M1_PWM_WH_Pin;
  GPIO_InitStruct.Mode = LL_GPIO_MODE_ALTERNATE;
  GPIO_InitStruct.Speed = LL_GPIO_SPEED_FREQ_HIGH;
  GPIO_InitStruct.OutputType = LL_GPIO_OUTPUT_PUSHPULL;
  GPIO_InitStruct.Pull = LL_GPIO_PULL_DOWN;
  GPIO_InitStruct.Alternate = LL_GPIO_AF_2;
  LL_GPIO_Init(M1_PWM_WH_GPIO_Port, &GPIO_InitStruct);

}

static void MX_TIM3_Init(void)
{

  LL_TIM_InitTypeDef TIM_InitStruct = {0};

  /* Peripheral clock enable */
  LL_APB1_GRP1_EnableClock(LL_APB1_GRP1_PERIPH_TIM3);

  TIM_InitStruct.Prescaler = LF_TIMER_PSC;
  TIM_InitStruct.CounterMode = LL_TIM_COUNTERMODE_UP;
  TIM_InitStruct.Autoreload = LF_TIMER_ARR;
  TIM_InitStruct.ClockDivision = LL_TIM_CLOCKDIVISION_DIV1;
  LL_TIM_Init(TIM3, &TIM_InitStruct);
  LL_TIM_DisableARRPreload(TIM3);
  LL_TIM_SetClockSource(TIM3, LL_TIM_CLOCKSOURCE_INTERNAL);
  LL_TIM_SetTriggerOutput(TIM3, LL_TIM_TRGO_ENABLE);
  LL_TIM_EnableMasterSlaveMode(TIM3);

}

static void MX_GPIO_Init(void)
{
  LL_GPIO_InitTypeDef GPIO_InitStruct = {0};

  /* GPIO Ports Clock Enable */
  LL_IOP_GRP1_EnableClock(LL_IOP_GRP1_PERIPH_GPIOA);
  LL_IOP_GRP1_EnableClock(LL_IOP_GRP1_PERIPH_GPIOB);
  LL_IOP_GRP1_EnableClock(LL_IOP_GRP1_PERIPH_GPIOD);

  /**/
  LL_GPIO_ResetOutputPin(M1_BEMF_DIVIDER_GPIO_Port, M1_BEMF_DIVIDER_Pin);

  /**/
  GPIO_InitStruct.Pin = M1_BEMF_DIVIDER_Pin;
  GPIO_InitStruct.Mode = LL_GPIO_MODE_OUTPUT;
  GPIO_InitStruct.Speed = LL_GPIO_SPEED_FREQ_LOW;
  GPIO_InitStruct.OutputType = LL_GPIO_OUTPUT_PUSHPULL;
  GPIO_InitStruct.Pull = LL_GPIO_PULL_DOWN;
  LL_GPIO_Init(M1_BEMF_DIVIDER_GPIO_Port, &GPIO_InitStruct);

}

/* USER CODE BEGIN 4 */

/**********************************************************************
  * @brief  delay us
  * @param  None
  * @retval None
  ********************************************************************/
static void delayUs(unsigned int time)
{
	time = time*4;
	while(time--)
 	 {
 	 }
}

/* USER CODE END 4 */

void Error_Handler(void)
{
  __disable_irq();
  while (1)
  {
  }
}
